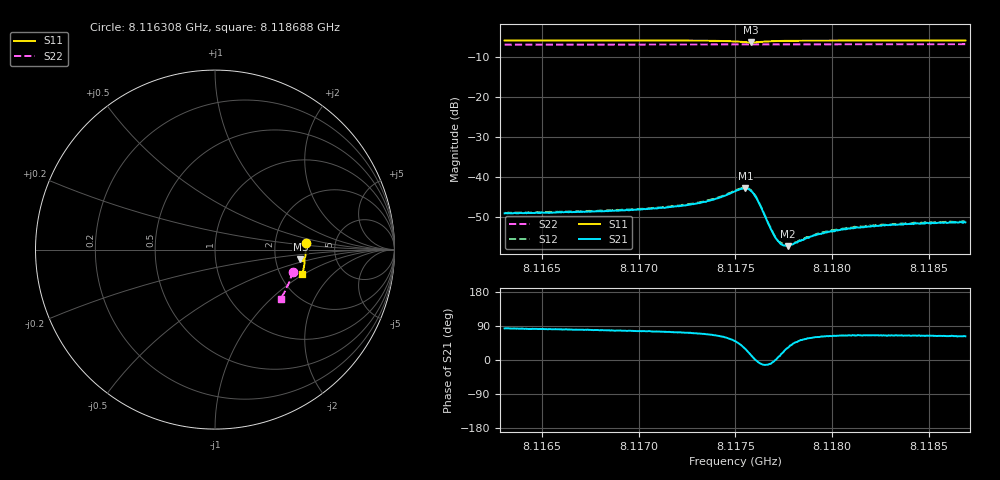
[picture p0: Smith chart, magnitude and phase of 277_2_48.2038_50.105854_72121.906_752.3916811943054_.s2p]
#  HZ  S  RI  R  50.00
! Rohde & Schwarz Vector Network Analyzer
! Rohde-Schwarz,ZNB20-2Port,1311601062101988,3.16
! Created: UTC 3/20/2024, 11:48:31 AM
! freq[Hz]  re:S11  im:S11  re:S21  im:S21  re:S12  im:S12  re:S22  im:S22
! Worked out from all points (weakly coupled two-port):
!   401 points, 8.116308 GHz to 8.118688 GHz, reference 50 ohm
!   highest |S21| = -42.73 dB at 8.117551 GHz (marker M1); lowest = -57.2 dB at 8.117772 GHz (marker M2)
!   lowest |S11| = -6.4 dB at 8.117581 GHz (marker M3), VSWR 2.83, Z = 139 - j19.2 ohm
!   |S11| at or under -10 dB: nowhere
!   |S22| runs from -7.0 to -6.8 dB; largest |S21 - S12| = 0.0002
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8.1163081e9  0.5057 0.0352  0.000409 0.00353  0.000433 0.00358  0.4322 -0.1226
8.1167067e9  0.5063 0.00489  0.000656 0.00365  0.000716 0.00368  0.4249 -0.1493
8.1171053e9  0.5046 -0.0263  0.00108 0.00402  0.00118 0.00402  0.4159 -0.1756
8.1172362e9  0.5033 -0.0374  0.00136 0.00425  0.00148 0.0043  0.4125 -0.1842
8.1173373e9  0.501 -0.0467  0.00177 0.00461  0.00186 0.00463  0.4098 -0.1909
8.1174206e9  0.4975 -0.0552  0.00257 0.00499  0.00263 0.00509  0.4074 -0.1962
8.117498e9  0.4889 -0.0628  0.00433 0.00511  0.00446 0.00515  0.4048 -0.201
8.1175336e9  0.4818 -0.0631  0.00571 0.00436  0.0059 0.00443  0.4035 -0.2031
8.1175515e9  0.4781 -0.0609  0.00638 0.00355  0.0065 0.00353  0.4028 -0.2042
8.1175812e9  0.4754 -0.0535  0.0066 0.00144  0.00674 0.00139  0.402 -0.2057
8.1175991e9  0.4774 -0.0491  0.00598 0.000247  0.00612 0.000197  0.4016 -0.2065
8.1176169e9  0.481 -0.0463  0.00503 -0.000483  0.00509 -0.000558  0.4014 -0.2074
8.1176764e9  0.4926 -0.0491  0.00242 -0.000441  0.00245 -0.000491  0.4001 -0.2113
8.1177062e9  0.4955 -0.0528  0.00178 -1.86e-05  0.00183 -6.4e-05  0.3994 -0.2133
8.117724e9  0.4966 -0.055  0.00156 0.000249  0.00157 0.000227  0.3988 -0.2144
8.1177419e9  0.4974 -0.0572  0.00137 0.000455  0.00143 0.000456  0.3984 -0.2156
8.1177716e9  0.4982 -0.0608  0.00117 0.000743  0.0012 0.000758  0.3975 -0.2176
8.1178966e9  0.4986 -0.0733  0.000963 0.00158  0.000967 0.0016  0.3936 -0.2254
8.1180096e9  0.4977 -0.0832  0.000929 0.00191  0.000999 0.00196  0.3897 -0.2326
8.1181167e9  0.4962 -0.092  0.000995 0.00212  0.00106 0.00218  0.3861 -0.2389
8.1182952e9  0.4937 -0.1058  0.00108 0.00231  0.00107 0.00235  0.3799 -0.25
8.1186878e9  0.4863 -0.1347  0.00126 0.00244  0.00133 0.00251  0.3652 -0.2732
